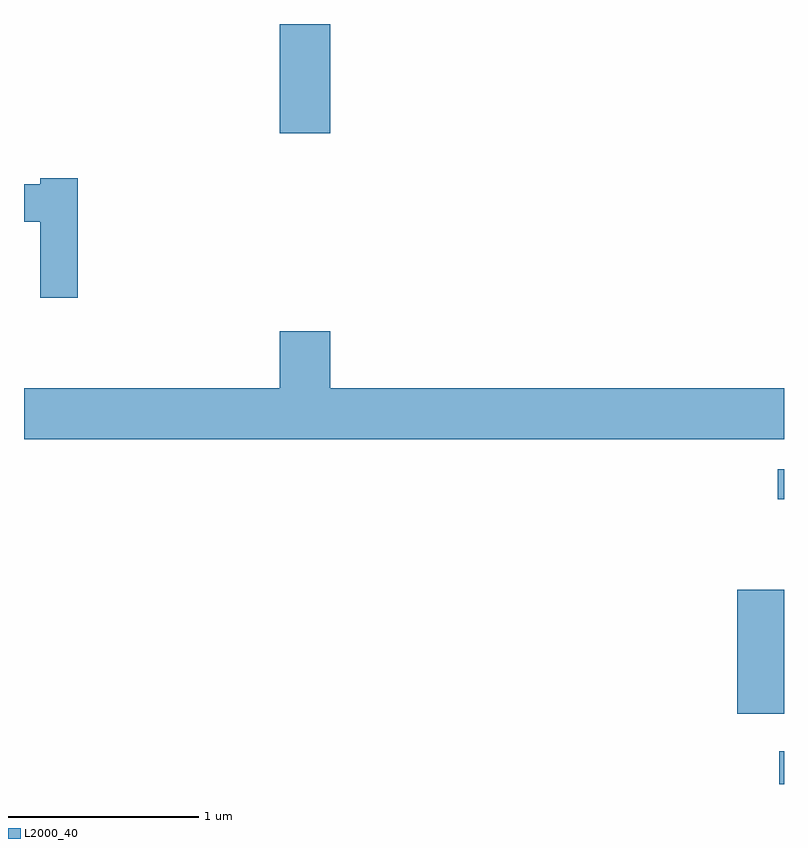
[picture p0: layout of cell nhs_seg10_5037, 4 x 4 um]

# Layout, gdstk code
import gdstk
lib = gdstk.Library(unit=1e-6, precision=1e-09)
def R(c, l, rs):  # rectangles x0, y0, x1, y1
    for r in rs: c.add(gdstk.rectangle(r[:2], r[2:], *l))
def P(c, l, *ps):  # polygons
    for p in ps: c.add(gdstk.Polygon(p, *l))
L2000_40 = (2000, 40)

nhs_seg10_5037 = lib.new_cell('nhs_seg10_5037')
R(nhs_seg10_5037, L2000_40, [(337.586,2136.522,337.611,2136.694), (337.366,2136.891,337.611,2137.544), (337.578,2138.021,337.611,2138.179), (334.956,2139.946,335.224,2140.522)])
P(nhs_seg10_5037, L2000_40, [(333.894,2139.709),(333.696,2139.709),(333.696,2139.679),(333.611,2139.679),(333.611,2139.481),(333.696,2139.481),(333.696,2139.081),(333.894,2139.081)],
  [(337.611,2138.604),(335.224,2138.604),(335.224,2138.904),(334.956,2138.904),(334.956,2138.604),(333.611,2138.604),(333.611,2138.336),(337.611,2138.336)])

lib.write_gds('nhs_seg10_5037.gds')
